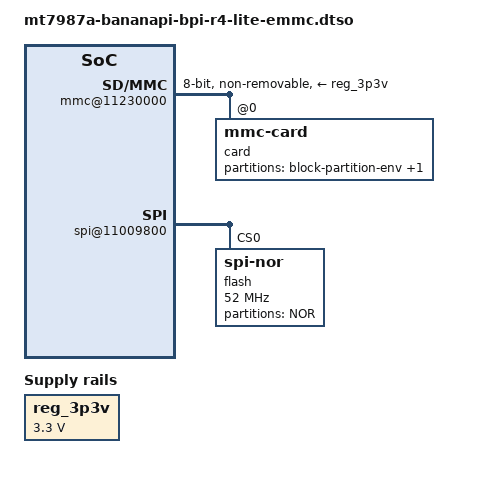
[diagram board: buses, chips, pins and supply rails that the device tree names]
// SPDX-License-Identifier: (GPL-2.0 OR MIT)

/dts-v1/;
/plugin/;

/ {
	fragment@0 {
		target-path = "/";
		__overlay__ {
			reg_3p3v: regulator-3p3v {
				compatible = "regulator-fixed";
				regulator-name = "fixed-3.3V";
				regulator-min-microvolt = <3300000>;
				regulator-max-microvolt = <3300000>;
				regulator-boot-on;
				regulator-always-on;
			};
		};
	};

	fragment@1 {
		target-path = "/soc/spi@11007800";
		__overlay__ {
			status = "disabled";
		};
	};

	fragment@2 {
		target-path = "/soc/mmc@11230000";
		__overlay__ {
			pinctrl-names = "default", "state_uhs";
			pinctrl-0 = <&mmc_pins_default>;
			pinctrl-1 = <&mmc_pins_uhs>;
			bus-width = <8>;
			max-frequency = <48000000>;
			cap-mmc-highspeed;
			vmmc-supply = <&reg_3p3v>;
			non-removable;
			status = "okay";
			#address-cells = <1>;
			#size-cells = <0>;

			card@0 {
				compatible = "mmc-card";
				reg = <0>;

				block {
					compatible = "block-device";
					partitions {
						block-partition-env {
							partname = "ubootenv";
							nvmem-layout {
								compatible = "u-boot,env";
							};
						};
						emmc_rootfs: block-partition-production {
							partname = "production";
						};
					};
				};
			};
		};
	};

        fragment@3 {
		target-path = "/chosen";
		__overlay__ {
			rootdisk = <&emmc_rootfs>;
			rootdisk-emmc = <&emmc_rootfs>;
		};
	};

        fragment@4 {
                target-path = "/soc/spi@11009800";
                __overlay__ {
                        pinctrl-names = "default";
                        pinctrl-0 = <&spi2_flash_pins>;
                        status = "okay";

			flash@0 {
                                #address-cells = <1>;
                                #size-cells = <1>;
                                compatible = "jedec,spi-nor";
                                spi-cal-enable;
                                spi-cal-mode = "read-data";
                                spi-cal-datalen = <7>;
                                spi-cal-data = /bits/ 8 <
                                        0x53 0x46 0x5F 0x42 0x4F 0x4F 0x54>;
                                spi-cal-addrlen = <1>;
                                spi-cal-addr = /bits/ 32 <0x0>;
                                reg = <0>;
                                spi-max-frequency = <52000000>;
                                spi-tx-bus-width = <4>;
                                spi-rx-bus-width = <4>;

                                partition@00000 {
                                        label = "NOR";
                                        reg = <0x00000 0x2000000>;
                                };
                        };
                };
        };
};

